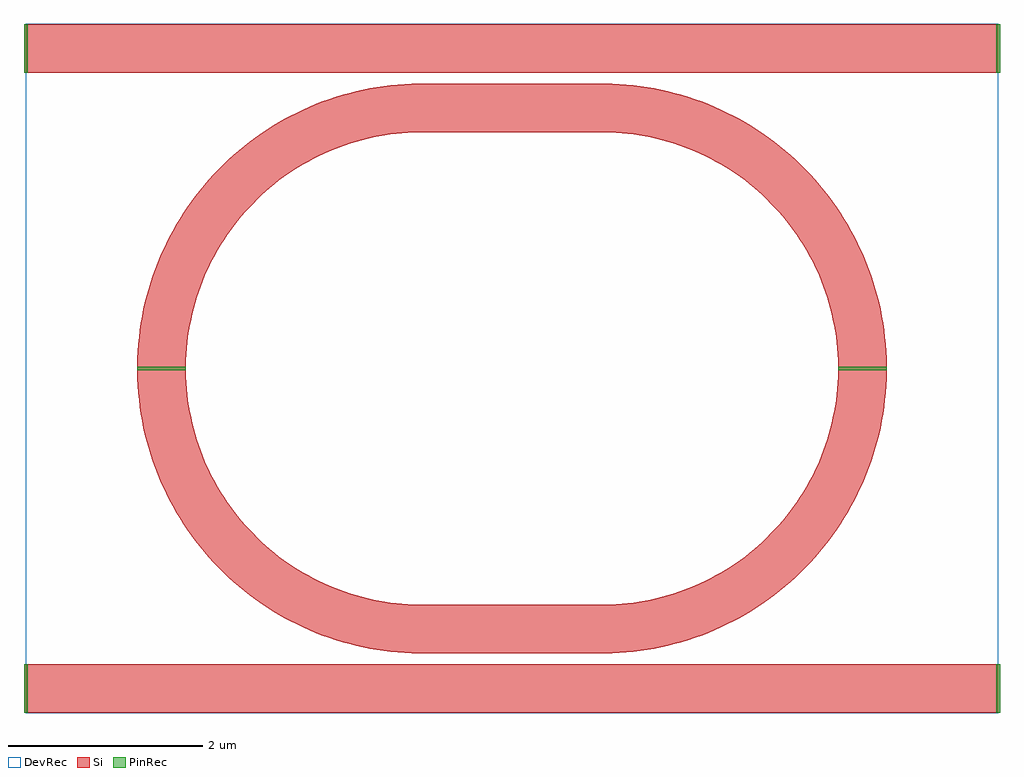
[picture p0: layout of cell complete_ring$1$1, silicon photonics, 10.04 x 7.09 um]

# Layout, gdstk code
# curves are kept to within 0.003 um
from math import pi, radians
import gdstk
lib = gdstk.Library(unit=1e-6, precision=1e-09)
def R(c, l, rs):  # rectangles x0, y0, x1, y1
    for r in rs: c.add(gdstk.rectangle(r[:2], r[2:], *l))
def P(c, l, *ps):  # polygons
    for p in ps: c.add(gdstk.Polygon(p, *l))
Si = (1, 0)
PinRec = (1, 10)
DevRec = (68, 0)

half_ring_3_1 = lib.new_cell('half_ring$3$1')
R(half_ring_3_1, Si, [(-0.925,-0.86,0.925,-0.36), (-5,-0.25,5,0.25)])
P(half_ring_3_1, Si, [(-3.855,-3.29),(-3.844,-3.039),(-3.829,-2.896),(-3.806,-2.754),(-3.776,-2.613),(-3.739,-2.474),(-3.696,-2.337),(-3.646,-2.202),(-3.589,-2.07),(-3.526,-1.941),(-3.457,-1.815),(-3.381,-1.692),(-3.3,-1.573),(-3.213,-1.459),(-3.12,-1.349),(-3.022,-1.244),(-2.919,-1.143),(-2.812,-1.048),(-2.699,-0.958),(-2.583,-0.874),(-2.462,-0.795),(-2.338,-0.723),(-2.145,-0.626),(-2.013,-0.569),(-1.878,-0.519),(-1.741,-0.476),(-1.602,-0.439),(-1.461,-0.409),(-1.319,-0.386),(-1.176,-0.371),(-0.925,-0.36),(-0.925,-0.86),(-1.134,-0.869),(-1.37,-0.901),(-1.544,-0.94),(-1.659,-0.973),(-1.882,-1.056),(-2.097,-1.161),(-2.3,-1.286),(-2.444,-1.393),(-2.535,-1.469),(-2.622,-1.551),(-2.784,-1.725),(-2.859,-1.818),(-2.929,-1.915),(-3.054,-2.118),(-3.159,-2.333),(-3.242,-2.556),(-3.275,-2.671),(-3.314,-2.845),(-3.346,-3.081),(-3.355,-3.29)],
  [(3.355,-3.29),(3.346,-3.081),(3.314,-2.845),(3.259,-2.613),(3.203,-2.443),(3.109,-2.224),(3.025,-2.066),(2.895,-1.866),(2.784,-1.725),(2.622,-1.551),(2.535,-1.469),(2.397,-1.356),(2.2,-1.221),(1.991,-1.106),(1.772,-1.012),(1.659,-0.973),(1.487,-0.926),(1.37,-0.901),(1.193,-0.875),(1.074,-0.864),(0.925,-0.86),(0.925,-0.36),(1.105,-0.365),(1.248,-0.378),(1.39,-0.397),(1.532,-0.423),(1.741,-0.476),(1.878,-0.519),(2.013,-0.569),(2.145,-0.626),(2.338,-0.723),(2.462,-0.795),(2.583,-0.874),(2.699,-0.958),(2.812,-1.048),(2.919,-1.143),(3.072,-1.296),(3.167,-1.403),(3.3,-1.573),(3.42,-1.753),(3.526,-1.941),(3.618,-2.136),(3.696,-2.337),(3.758,-2.543),(3.806,-2.754),(3.837,-2.967),(3.85,-3.11),(3.855,-3.29)])
R(half_ring_3_1, DevRec, [(-5,-3.29,5,0.255)])
half_ring_3_1.add(gdstk.FlexPath([(-4.98,0),(-5.02,0)], 0.5, ends="flush", simple_path=True, layer=1, datatype=10))  # PinRec
half_ring_3_1.add(gdstk.FlexPath([(4.98,0),(5.02,0)], 0.5, ends="flush", simple_path=True, layer=1, datatype=10))  # PinRec
half_ring_3_1.add(gdstk.FlexPath([(3.605,-3.27),(3.605,-3.31)], 0.5, ends="flush", simple_path=True, layer=1, datatype=10))  # PinRec
half_ring_3_1.add(gdstk.FlexPath([(-3.605,-3.27),(-3.605,-3.31)], 0.5, ends="flush", simple_path=True, layer=1, datatype=10))  # PinRec
half_ring_3_1.add(gdstk.Label('pin1', (-5,0), layer=1, texttype=10))
half_ring_3_1.add(gdstk.Label('pin2', (5,0), layer=1, texttype=10))
half_ring_3_1.add(gdstk.Label('pin3', (-3.605,-3.29), layer=1, texttype=10))
half_ring_3_1.add(gdstk.Label('pin4', (3.605,-3.29), layer=1, texttype=10))
half_ring_3_1.add(gdstk.Label('Lumerical_INTERCONNECT_library=Custom/ring resonator', (-3,-2.79), layer=68, texttype=0))

complete_ring_1_1 = lib.new_cell('complete_ring$1$1')
complete_ring_1_1.add(gdstk.Reference(half_ring_3_1, (0,-6.58), rotation=pi))
complete_ring_1_1.add(gdstk.Reference(half_ring_3_1, (0,0)))

lib.write_gds('complete_ring_1_1.gds')
